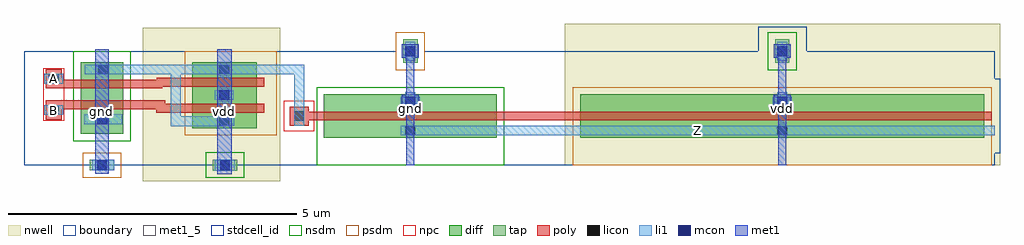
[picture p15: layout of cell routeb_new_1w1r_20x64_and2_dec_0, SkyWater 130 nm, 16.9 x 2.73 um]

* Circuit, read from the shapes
.subckt routeb_new_1w1r_20x64_and2_dec_0 A B Z gnd vdd
XM1 n1 B gnd gnd sky130_fd_pr__nfet_01v8 w=0.74 l=0.15
XM2 routeb_new_1w1r_20x64_pinv_dec_0_1/A A n1 gnd sky130_fd_pr__nfet_01v8 w=0.74 l=0.15
XM3 gnd routeb_new_1w1r_20x64_pinv_dec_0_1/A Z gnd sky130_fd_pr__nfet_01v8 w=3 l=0.15
XM4 vdd B routeb_new_1w1r_20x64_pinv_dec_0_1/A vdd sky130_fd_pr__pfet_01v8 w=1.12 l=0.15
XM5 routeb_new_1w1r_20x64_pinv_dec_0_1/A A vdd vdd sky130_fd_pr__pfet_01v8 w=1.12 l=0.15
XM6 vdd routeb_new_1w1r_20x64_pinv_dec_0_1/A Z vdd sky130_fd_pr__pfet_01v8 w=7 l=0.15
.ends

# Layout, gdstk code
from math import pi, radians
import gdstk
lib = gdstk.Library(unit=1e-6, precision=1e-09)
def R(c, l, rs):  # rectangles x0, y0, x1, y1
    for r in rs: c.add(gdstk.rectangle(r[:2], r[2:], *l))
nwell = (64, 20)
diff = (65, 20)
tap = (65, 44)
poly = (66, 20)
licon = (66, 44)
li1 = (67, 20)
mcon = (67, 44)
met1_5 = (68, 5)
met1 = (68, 20)
stdcell_id = (81, 4)
nsdm = (93, 44)
psdm = (94, 20)
npc = (95, 20)
boundary = (235, 4)

sky130_fd_bd_sram__openr = lib.new_cell('sky130_fd_bd_sram__openram_dp_nand2_dec')
R(sky130_fd_bd_sram__openr, nwell, [(2.06,-0.28,4.44,2.38)])
R(sky130_fd_bd_sram__openr, diff, [(0.98,0.54,1.72,1.78), (2.91,0.64,4.03,1.78)])
R(sky130_fd_bd_sram__openr, tap, [(3.27,-0.095,3.69,0.095), (1.14,-0.09,1.56,0.09)])
R(sky130_fd_bd_sram__openr, poly, [(0.38,0.79,0.65,0.97), (2.29,0.91,4.16,0.97), (0.38,0.97,4.16,1.06), (0.38,1.06,2.45,1.12), (0.38,1.33,2.39,1.36), (0.38,1.36,4.16,1.48), (0.38,1.48,0.65,1.66), (2.3,1.48,4.16,1.51)])
R(sky130_fd_bd_sram__openr, licon, [(1.265,-0.085,1.435,0.085), (3.395,-0.085,3.565,0.085), (3.385,0.68,3.555,0.85), (1.295,0.71,1.465,0.88), (0.43,0.87,0.6,1.04), (3.385,1.13,3.555,1.3), (0.43,1.41,0.6,1.58), (1.285,1.57,1.455,1.74), (3.385,1.57,3.555,1.74)])
R(sky130_fd_bd_sram__openr, li1, [(3.3,-0.095,3.65,0.095), (1.18,-0.09,1.56,0.09), (2.545,0.67,2.86,0.675), (2.545,0.675,3.425,0.68), (2.545,0.68,3.64,0.845), (1.04,0.71,1.7,0.88), (2.545,0.845,2.99,0.85), (3.3,0.845,3.64,0.85), (2.545,0.85,2.715,1.57), (0.35,0.87,0.68,1.04), (0.35,0.87,0.68,1.04), (3.3,1.13,3.635,1.3), (0.35,1.41,0.68,1.58), (0.35,1.41,0.68,1.58), (1.05,1.57,4.44,1.74), (1.05,1.57,4.44,1.74)])
R(sky130_fd_bd_sram__openr, mcon, [(1.265,-0.085,1.435,0.085), (3.395,-0.085,3.565,0.085), (1.27,0.71,1.44,0.88), (3.385,1.13,3.555,1.3)])
R(sky130_fd_bd_sram__openr, met1_5, [(3.35,-0.16,3.6,2.01), (1.23,-0.15,1.47,2.01)])
R(sky130_fd_bd_sram__openr, met1, [(3.35,-0.16,3.6,2.01), (3.35,-0.16,3.6,2.01), (1.23,-0.15,1.47,2.01), (1.23,-0.15,1.47,2.01)])
R(sky130_fd_bd_sram__openr, nsdm, [(3.145,-0.22,3.815,0.22), (0.855,0.415,1.845,1.975)])
R(sky130_fd_bd_sram__openr, psdm, [(1.015,-0.215,1.685,0.215), (2.785,0.515,4.38,1.975)])
R(sky130_fd_bd_sram__openr, npc, [(0.33,0.77,0.7,1.68)])
R(sky130_fd_bd_sram__openr, boundary, [(0,0,4.38,1.975)])
sky130_fd_bd_sram__openr.add(gdstk.Label('GND', (1.34,0.41), layer=68, texttype=16))
sky130_fd_bd_sram__openr.add(gdstk.Label('VDD', (3.48,0.47), layer=68, texttype=16))
sky130_fd_bd_sram__openr.add(gdstk.Label('B', (0.515,0.955), layer=67, texttype=16))
sky130_fd_bd_sram__openr.add(gdstk.Label('A', (0.515,1.495), layer=67, texttype=16))
sky130_fd_bd_sram__openr.add(gdstk.Label('Z', (4.27,1.655), layer=67, texttype=16))
sky130_fd_bd_sram__openr.add(gdstk.Label('A', (0.515,1.495), layer=67, texttype=5))
sky130_fd_bd_sram__openr.add(gdstk.Label('B', (0.515,0.955), layer=67, texttype=5))
sky130_fd_bd_sram__openr.add(gdstk.Label('Z', (2.745,1.655), layer=67, texttype=5))
sky130_fd_bd_sram__openr.add(gdstk.Label('vdd', (3.475,0.925), layer=68, texttype=5))
sky130_fd_bd_sram__openr.add(gdstk.Label('gnd', (1.35,0.93), layer=68, texttype=5))

routeb_new_1w1r_20x64_co = lib.new_cell('routeb_new_1w1r_20x64_contact_11')
R(routeb_new_1w1r_20x64_co, nwell, [(-0.295,-0.255,0.545,0.585)])
R(routeb_new_1w1r_20x64_co, diff, [(0,0.02,0.25,0.31)])
R(routeb_new_1w1r_20x64_co, licon, [(0.04,0.08,0.21,0.25)])
R(routeb_new_1w1r_20x64_co, li1, [(0.04,0,0.21,0.33)])
R(routeb_new_1w1r_20x64_co, stdcell_id, [(-0.295,-0.255,0.545,0.585)])
R(routeb_new_1w1r_20x64_co, psdm, [(-0.125,-0.105,0.375,0.435)])
R(routeb_new_1w1r_20x64_co, boundary, [(-0.295,-0.255,0.545,0.585)])

routeb_new_1w1r_20x64_pm = lib.new_cell('routeb_new_1w1r_20x64_pmos_m1_w7_000_sli_dli_da_p')
R(routeb_new_1w1r_20x64_pm, nwell, [(-0.27,-0.27,1.02,7.27)])
R(routeb_new_1w1r_20x64_pm, diff, [(0,0,0.75,7)])
R(routeb_new_1w1r_20x64_pm, poly, [(0.3,-0.13,0.45,7.13), (0.3,-0.13,0.45,7.13)])
R(routeb_new_1w1r_20x64_pm, li1, [(0.04,3.335,0.21,3.665), (0.54,3.335,0.71,3.665)])
R(routeb_new_1w1r_20x64_pm, stdcell_id, [(-0.27,-0.27,1.02,7.27)])
R(routeb_new_1w1r_20x64_pm, psdm, [(-0.125,-0.125,0.875,7.125)])
R(routeb_new_1w1r_20x64_pm, boundary, [(-0.27,-0.27,1.02,7.27)])
routeb_new_1w1r_20x64_pm.add(gdstk.Reference(routeb_new_1w1r_20x64_co, (0,3.335)))
routeb_new_1w1r_20x64_pm.add(gdstk.Reference(routeb_new_1w1r_20x64_co, (0.5,3.335)))
routeb_new_1w1r_20x64_pm.add(gdstk.Label('G', (0.375,3.5), layer=66, texttype=5))
routeb_new_1w1r_20x64_pm.add(gdstk.Label('S', (0.125,3.5), layer=67, texttype=5))
routeb_new_1w1r_20x64_pm.add(gdstk.Label('D', (0.625,3.5), layer=67, texttype=5))

c_routeb_new_1w1r_20x64_co = lib.new_cell('routeb_new_1w1r_20x64_contact_10')
R(c_routeb_new_1w1r_20x64_co, diff, [(0,0.02,0.25,0.31)])
R(c_routeb_new_1w1r_20x64_co, licon, [(0.04,0.08,0.21,0.25)])
R(c_routeb_new_1w1r_20x64_co, li1, [(0.04,0,0.21,0.33)])
R(c_routeb_new_1w1r_20x64_co, stdcell_id, [(-0.125,-0.105,0.375,0.435)])
R(c_routeb_new_1w1r_20x64_co, nsdm, [(-0.125,-0.105,0.375,0.435)])
R(c_routeb_new_1w1r_20x64_co, boundary, [(-0.125,-0.105,0.375,0.435)])

routeb_new_1w1r_20x64_nm = lib.new_cell('routeb_new_1w1r_20x64_nmos_m1_w3_000_sli_dli_da_p')
R(routeb_new_1w1r_20x64_nm, diff, [(0,0,0.75,3)])
R(routeb_new_1w1r_20x64_nm, poly, [(0.3,-0.13,0.45,3.13), (0.3,-0.13,0.45,3.13)])
R(routeb_new_1w1r_20x64_nm, li1, [(0.04,1.335,0.21,1.665), (0.54,1.335,0.71,1.665)])
R(routeb_new_1w1r_20x64_nm, stdcell_id, [(-0.125,-0.13,0.875,3.13)])
R(routeb_new_1w1r_20x64_nm, nsdm, [(-0.125,-0.125,0.875,3.125)])
R(routeb_new_1w1r_20x64_nm, boundary, [(-0.125,-0.13,0.875,3.13)])
routeb_new_1w1r_20x64_nm.add(gdstk.Reference(c_routeb_new_1w1r_20x64_co, (0,1.335)))
routeb_new_1w1r_20x64_nm.add(gdstk.Reference(c_routeb_new_1w1r_20x64_co, (0.5,1.335)))
routeb_new_1w1r_20x64_nm.add(gdstk.Label('G', (0.375,1.5), layer=66, texttype=5))
routeb_new_1w1r_20x64_nm.add(gdstk.Label('S', (0.125,1.5), layer=67, texttype=5))
routeb_new_1w1r_20x64_nm.add(gdstk.Label('D', (0.625,1.5), layer=67, texttype=5))

c_routeb_new_1w1r_20x64_co_ = lib.new_cell('routeb_new_1w1r_20x64_contact_12')
R(c_routeb_new_1w1r_20x64_co_, nwell, [(-0.295,-0.215,0.545,0.625)])
R(c_routeb_new_1w1r_20x64_co_, tap, [(0,0,0.25,0.41)])
R(c_routeb_new_1w1r_20x64_co_, licon, [(0.04,0.12,0.21,0.29)])
R(c_routeb_new_1w1r_20x64_co_, li1, [(0.04,0.04,0.21,0.37)])
R(c_routeb_new_1w1r_20x64_co_, stdcell_id, [(-0.295,-0.215,0.545,0.625)])
R(c_routeb_new_1w1r_20x64_co_, nsdm, [(-0.125,-0.125,0.375,0.535)])
R(c_routeb_new_1w1r_20x64_co_, boundary, [(-0.295,-0.215,0.545,0.625)])

c_routeb_new_1w1r_20x64_co__ = lib.new_cell('routeb_new_1w1r_20x64_contact_13')
R(c_routeb_new_1w1r_20x64_co__, li1, [(0.06,0,0.23,0.33)])
R(c_routeb_new_1w1r_20x64_co__, mcon, [(0.06,0.08,0.23,0.25)])
R(c_routeb_new_1w1r_20x64_co__, met1, [(0,0.05,0.29,0.28)])
R(c_routeb_new_1w1r_20x64_co__, stdcell_id, [(0,0,0.29,0.33)])
R(c_routeb_new_1w1r_20x64_co__, boundary, [(0,0,0.29,0.33)])

c_routeb_new_1w1r_20x64_co___ = lib.new_cell('routeb_new_1w1r_20x64_contact_14')
R(c_routeb_new_1w1r_20x64_co___, tap, [(0,0,0.25,0.41)])
R(c_routeb_new_1w1r_20x64_co___, licon, [(0.04,0.12,0.21,0.29)])
R(c_routeb_new_1w1r_20x64_co___, li1, [(0.04,0.04,0.21,0.37)])
R(c_routeb_new_1w1r_20x64_co___, stdcell_id, [(-0.125,-0.125,0.375,0.535)])
R(c_routeb_new_1w1r_20x64_co___, psdm, [(-0.125,-0.125,0.375,0.535)])
R(c_routeb_new_1w1r_20x64_co___, boundary, [(-0.125,-0.125,0.375,0.535)])

c_routeb_new_1w1r_20x64_co____ = lib.new_cell('routeb_new_1w1r_20x64_contact_15')
R(c_routeb_new_1w1r_20x64_co____, poly, [(0,0,0.33,0.33)])
R(c_routeb_new_1w1r_20x64_co____, licon, [(0.08,0.08,0.25,0.25)])
R(c_routeb_new_1w1r_20x64_co____, li1, [(0.08,0,0.25,0.33)])
R(c_routeb_new_1w1r_20x64_co____, stdcell_id, [(-0.1,-0.1,0.43,0.43)])
R(c_routeb_new_1w1r_20x64_co____, npc, [(-0.1,-0.1,0.43,0.43)])
R(c_routeb_new_1w1r_20x64_co____, boundary, [(-0.1,-0.1,0.43,0.43)])

routeb_new_1w1r_20x64_pi = lib.new_cell('routeb_new_1w1r_20x64_pinv_dec_0')
R(routeb_new_1w1r_20x64_pi, nwell, [(4.98,0,12.52,2.45)])
R(routeb_new_1w1r_20x64_pi, poly, [(0.385,0.775,0.68,0.925), (3.94,0.775,5.12,0.925)])
R(routeb_new_1w1r_20x64_pi, li1, [(2.145,0.515,12.43,0.685), (0.3,0.685,0.47,1.015)])
R(routeb_new_1w1r_20x64_pi, met1_5, [(2.24,0,2.38,1.975), (8.68,0,8.82,1.975)])
R(routeb_new_1w1r_20x64_pi, met1, [(2.24,0,2.38,1.975), (8.68,0,8.82,1.975)])
R(routeb_new_1w1r_20x64_pi, stdcell_id, [(0,0,12.43,1.975), (0,0,12.43,1.975)])
R(routeb_new_1w1r_20x64_pi, nsdm, [(0.685,0,3.935,1.225)])
R(routeb_new_1w1r_20x64_pi, psdm, [(5.125,0,12.375,1.225)])
R(routeb_new_1w1r_20x64_pi, boundary, [(0,0,12.43,1.975), (0,0,12.43,1.975)])
routeb_new_1w1r_20x64_pi.add(gdstk.Reference(routeb_new_1w1r_20x64_pm, (5.25,1.225), rotation=3*pi/2))
routeb_new_1w1r_20x64_pi.add(gdstk.Reference(routeb_new_1w1r_20x64_nm, (0.81,1.225), rotation=3*pi/2))
routeb_new_1w1r_20x64_pi.add(gdstk.Reference(c_routeb_new_1w1r_20x64_co_, (8.625,1.77)))
routeb_new_1w1r_20x64_pi.add(gdstk.Reference(c_routeb_new_1w1r_20x64_co__, (8.605,1.81)))
routeb_new_1w1r_20x64_pi.add(gdstk.Reference(c_routeb_new_1w1r_20x64_co___, (2.185,1.77)))
routeb_new_1w1r_20x64_pi.add(gdstk.Reference(c_routeb_new_1w1r_20x64_co__, (2.165,1.81)))
routeb_new_1w1r_20x64_pi.add(gdstk.Reference(c_routeb_new_1w1r_20x64_co____, (0.22,0.685)))
routeb_new_1w1r_20x64_pi.add(gdstk.Reference(c_routeb_new_1w1r_20x64_co__, (2.165,0.935)))
routeb_new_1w1r_20x64_pi.add(gdstk.Reference(c_routeb_new_1w1r_20x64_co__, (8.605,0.935)))
routeb_new_1w1r_20x64_pi.add(gdstk.Label('A', (0.385,0.85), layer=67, texttype=5))
routeb_new_1w1r_20x64_pi.add(gdstk.Label('Z', (7.288,0.6), layer=67, texttype=5))
routeb_new_1w1r_20x64_pi.add(gdstk.Label('gnd', (2.31,0.988), layer=68, texttype=5))
routeb_new_1w1r_20x64_pi.add(gdstk.Label('vdd', (8.75,0.988), layer=68, texttype=5))

routeb_new_1w1r_20x64_an = lib.new_cell('routeb_new_1w1r_20x64_and2_dec_0')
R(routeb_new_1w1r_20x64_an, li1, [(6.525,0.515,16.81,0.685), (4.68,0.85,4.85,1.655), (0.35,0.87,0.68,1.04), (0.35,1.41,0.68,1.58), (2.745,1.57,4.765,1.74), (4.68,1.57,4.85,1.74)])
R(routeb_new_1w1r_20x64_an, met1_5, [(3.35,-0.16,3.6,2.01), (1.23,-0.15,1.47,2.01), (6.62,0,6.76,1.975), (13.06,0,13.2,1.975)])
R(routeb_new_1w1r_20x64_an, met1, [(3.35,-0.16,3.6,2.01), (1.23,-0.15,1.47,2.01), (6.62,0,6.76,1.975), (13.06,0,13.2,1.975)])
R(routeb_new_1w1r_20x64_an, stdcell_id, [(0,0,16.81,1.975)])
R(routeb_new_1w1r_20x64_an, boundary, [(0,0,16.81,1.975)])
routeb_new_1w1r_20x64_an.add(gdstk.Reference(sky130_fd_bd_sram__openr, (0,0)))
routeb_new_1w1r_20x64_an.add(gdstk.Reference(routeb_new_1w1r_20x64_pi, (4.38,0)))
routeb_new_1w1r_20x64_an.add(gdstk.Label('Z', (11.668,0.6), layer=67, texttype=5))
routeb_new_1w1r_20x64_an.add(gdstk.Label('A', (0.515,1.495), layer=67, texttype=5))
routeb_new_1w1r_20x64_an.add(gdstk.Label('B', (0.515,0.955), layer=67, texttype=5))
routeb_new_1w1r_20x64_an.add(gdstk.Label('vdd', (3.475,0.925), layer=68, texttype=5))
routeb_new_1w1r_20x64_an.add(gdstk.Label('vdd', (13.13,0.988), layer=68, texttype=5))
routeb_new_1w1r_20x64_an.add(gdstk.Label('gnd', (6.69,0.988), layer=68, texttype=5))
routeb_new_1w1r_20x64_an.add(gdstk.Label('gnd', (1.35,0.93), layer=68, texttype=5))

lib.write_gds('routeb_new_1w1r_20x64_and2_dec_0.gds')
